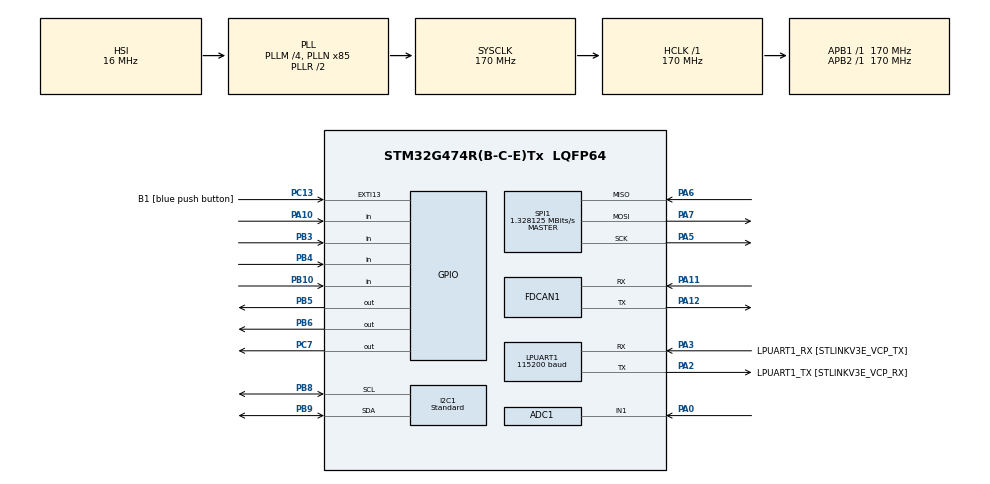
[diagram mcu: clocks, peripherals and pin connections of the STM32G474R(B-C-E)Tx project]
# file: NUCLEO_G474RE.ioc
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ADC1.Channel-2\#ChannelRegularConversion=ADC_CHANNEL_1
ADC1.NbrOfConversionFlag=1
ADC1.OffsetNumber-2\#ChannelRegularConversion=ADC_OFFSET_NONE
ADC1.Rank-2\#ChannelRegularConversion=1
ADC1.SamplingTime-2\#ChannelRegularConversion=ADC_SAMPLETIME_2CYCLES_5
ADC1.master=1
FDCAN1.CalculateBaudRateNominal=500000
FDCAN1.CalculateTimeBitNominal=2000
FDCAN1.CalculateTimeQuantumNominal=200.0
FDCAN1.NominalPrescaler=34
FDCAN1.NominalTimeSeg1=4
FDCAN1.NominalTimeSeg2=5
I2C1.CustomTiming=Disabled
I2C1.DualAddressMode=I2C_DUALADDRESS_DISABLE
I2C1.I2C_Speed_Mode=I2C_Standard
I2C1.Timing=0x40B285C2
LPUART1.BaudRate=115200
Mcu.Family=STM32G4
Mcu.Name=STM32G474R(B-C-E)Tx
Mcu.Package=LQFP64
NVIC.EXTI15_10_IRQn=true\:0\:0\:false\:false\:true\:true\:true\:true
NVIC.PriorityGroup=NVIC_PRIORITYGROUP_4
PA0.Mode=IN1-Single-Ended
PA0.Signal=ADC1_IN1
PA10.Signal=GPIO_Input
PA11.Mode=FDCAN_Activate
PA11.Signal=FDCAN1_RX
PA12.Mode=FDCAN_Activate
PA12.Signal=FDCAN1_TX
PA13.GPIO_Label=T_SWDIO
PA13.Signal=SYS_JTMS-SWDIO
PA14.GPIO_Label=T_SWCLK
PA14.Signal=SYS_JTCK-SWCLK
PA2.GPIO_Label=LPUART1_TX [STLINKV3E_VCP_RX]
PA2.Mode=Asynchronous
PA2.Signal=LPUART1_TX
PA3.GPIO_Label=LPUART1_RX [STLINKV3E_VCP_TX]
PA3.Mode=Asynchronous
PA3.Signal=LPUART1_RX
PA5.Mode=Full_Duplex_Master
PA5.Signal=SPI1_SCK
PA6.Mode=Full_Duplex_Master
PA6.Signal=SPI1_MISO
PA7.Mode=Full_Duplex_Master
PA7.Signal=SPI1_MOSI
PB10.Signal=GPIO_Input
PB3.Signal=GPIO_Input
PB4.Signal=GPIO_Input
PB5.PinState=GPIO_PIN_SET
PB5.Signal=GPIO_Output
PB6.Signal=GPIO_Output
PB8-BOOT0.Mode=I2C
PB8-BOOT0.Signal=I2C1_SCL
PB9.Mode=I2C
PB9.Signal=I2C1_SDA
PC13.GPIO_Label=B1 [blue push button]
PC13.Signal=GPXTI13
PC14-OSC32_IN.GPIO_Label=RCC_OSC32_IN
PC14-OSC32_IN.Signal=RCC_OSC32_IN
PC15-OSC32_OUT.GPIO_Label=RCC_OSC32_OUT
PC15-OSC32_OUT.Signal=RCC_OSC32_OUT
PC7.GPIO_Speed=GPIO_SPEED_FREQ_LOW
PC7.PinState=GPIO_PIN_SET
PC7.Signal=GPIO_Output
PF0-OSC_IN.GPIO_Label=RCC_OSC_IN
PF0-OSC_IN.Signal=RCC_OSC_IN
PF1-OSC_OUT.GPIO_Label=RCC_OSC_OUT
PF1-OSC_OUT.Signal=RCC_OSC_OUT
ProjectManager.HeapSize=0x200
ProjectManager.StackSize=0x400
ProjectManager.TargetToolchain=STM32CubeIDE
RCC.ADC12Freq_Value=170000000
RCC.ADC345Freq_Value=170000000
RCC.AHBFreq_Value=170000000
RCC.APB1Freq_Value=170000000
RCC.APB1TimFreq_Value=170000000
RCC.APB2Freq_Value=170000000
RCC.APB2TimFreq_Value=170000000
RCC.CortexFreq_Value=170000000
RCC.EXTERNAL_CLOCK_VALUE=12288000
RCC.HCLKFreq_Value=170000000
RCC.HSE_VALUE=24000000
RCC.HSI48_VALUE=48000000
RCC.HSI_VALUE=16000000
RCC.LSE_VALUE=32768
RCC.PLLM=RCC_PLLM_DIV4
RCC.PLLN=85
RCC.RTCClockSelection=RCC_RTCCLKSOURCE_LSE
RCC.SYSCLKFreq_VALUE=170000000
RCC.SYSCLKSource=RCC_SYSCLKSOURCE_PLLCLK
RCC.USBFreq_Value=170000000
RCC.VCOOutputFreq_Value=340000000
SPI1.BaudRatePrescaler=SPI_BAUDRATEPRESCALER_128
SPI1.CalculateBaudRate=1.328125 MBits/s
SPI1.DataSize=SPI_DATASIZE_8BIT
SPI1.Direction=SPI_DIRECTION_2LINES
SPI1.Mode=SPI_MODE_MASTER
SPI1.NSSPMode=SPI_NSS_PULSE_ENABLE
SPI1.VirtualType=VM_MASTER
VP_SYS_VS_DBSignals.Mode=DisableDeadBatterySignals
board=NUCLEO-G474RE

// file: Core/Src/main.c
/* USER CODE BEGIN Header */
/**
  ******************************************************************************
  * @file           : main.c
  * @brief          : Main program body
  ******************************************************************************
  * @attention
  *
  * Copyright (c) 2025 STMicroelectronics.
  * All rights reserved.
  *
  * This software is licensed under terms that can be found in the LICENSE file
  * in the root directory of this software component.
  * If no LICENSE file comes with this software, it is provided AS-IS.
  *
  ******************************************************************************
  */
/* USER CODE END Header */
#include "main.h"

/* USER CODE BEGIN Includes */
#include "adBms_Application.h"
#include <string.h>
#include <stdlib.h>
#include <stdbool.h>
#include <stdint.h>
/* USER CODE END Includes */

ADC_HandleTypeDef hadc1;

FDCAN_HandleTypeDef hfdcan1;

I2C_HandleTypeDef hi2c1;

UART_HandleTypeDef hlpuart1;

SPI_HandleTypeDef hspi1;

/* USER CODE BEGIN PV */
uint8_t HeaderTxBuffer[] = "****SPI - Two Boards communication based on Polling **** SPI Message ******** SPI Message ******** SPI Message ****";
/* USER CODE END PV */

void SystemClock_Config(void);
static void MX_GPIO_Init(void);
static void MX_ADC1_Init(void);
static void MX_I2C1_Init(void);
static void MX_LPUART1_UART_Init(void);
static void MX_SPI1_Init(void);
static void MX_FDCAN1_Init(void);
/* USER CODE BEGIN PFP */
#if defined(__ICCARM__)
/* New definition from EWARM V9, compatible with EWARM8 */
int iar_fputc(int ch);
#define PUTCHAR_PROTOTYPE int iar_fputc(int ch)
#elif defined ( __CC_ARM ) || defined(__ARMCC_VERSION)
/* ARM Compiler 5/6*/
#define PUTCHAR_PROTOTYPE int fputc(int ch, FILE *f)
#define GETCHAR_PROTOTYPE int fgetc(FILE *f)
#elif defined(__GNUC__)
#define PUTCHAR_PROTOTYPE int __io_putchar(int ch)
#define GETCHAR_PROTOTYPE int __io_getchar(void)
#endif /* __ICCARM__ */
/* USER CODE END PFP */

int main(void)
{

  /* MCU Configuration--------------------------------------------------------*/

  /* Reset of all peripherals, Initializes the Flash interface and the Systick. */
  HAL_Init();

  /* Configure the system clock */
  SystemClock_Config();

  /* Initialize all configured peripherals */
  MX_GPIO_Init();
  MX_ADC1_Init();
  MX_I2C1_Init();
  MX_LPUART1_UART_Init();
  MX_SPI1_Init();
  MX_FDCAN1_Init();
  /* USER CODE BEGIN 2 */
//  adbms_main();
    init_config();
  void send_voltages_CAN() {
      FDCAN_TxHeaderTypeDef txHeader;
      uint8_t data[8];

          uint16_t min_mv = (uint16_t)(tensao_min * 1000);
          uint16_t med_mv = (uint16_t)(tensao_med * 1000);
          uint16_t max_mv = (uint16_t)(tensao_max * 1000);

          data[0] = (min_mv >> 8) & 0xFF;
          data[1] = min_mv & 0xFF;

          data[2] = (med_mv >> 8) & 0xFF;
          data[3] = med_mv & 0xFF;

          data[4] = (max_mv >> 8) & 0xFF;
          data[5] = max_mv & 0xFF;

          data[6] = 0xAB; // opcional: byte livre
          data[7] = 0xCD; // opcional: byte livre

      txHeader.Identifier = 0x184;
      txHeader.IdType = FDCAN_STANDARD_ID;
      txHeader.TxFrameType = FDCAN_DATA_FRAME;
      txHeader.DataLength = FDCAN_DLC_BYTES_8;
      txHeader.ErrorStateIndicator = FDCAN_ESI_ACTIVE;
      txHeader.BitRateSwitch = FDCAN_BRS_OFF;
      txHeader.FDFormat = FDCAN_CLASSIC_CAN;
      txHeader.TxEventFifoControl = FDCAN_NO_TX_EVENTS;
      txHeader.MessageMarker = 0;

      HAL_FDCAN_AddMessageToTxFifoQ(&hfdcan1, &txHeader, data);

      if(HAL_FDCAN_AddMessageToTxFifoQ(&hfdcan1, &txHeader, data) != HAL_OK)
      	{

          	HAL_FDCAN_DeInit(&hfdcan1);
          	HAL_Delay(5);
          	HAL_FDCAN_Init(&hfdcan1);
          	HAL_FDCAN_Start(&hfdcan1);

          }

  }

  /* USER CODE END 2 */

  /* Infinite loop */
  /* USER CODE BEGIN WHILE */
  while (1)
  {
	  run_command(22);
	  printf("Tensões: MIN = %.3fV | MAX = %.3fV | MÉDIA = %.3fV\n",
	  	             tensao_min, tensao_max, tensao_med);
	  send_voltages_CAN();
	  HAL_Delay(200);
    /* USER CODE END WHILE */

  }
}

void SystemClock_Config(void)
{
  RCC_OscInitTypeDef RCC_OscInitStruct = {0};
  RCC_ClkInitTypeDef RCC_ClkInitStruct = {0};

  /** Configure the main internal regulator output voltage
  */
  HAL_PWREx_ControlVoltageScaling(PWR_REGULATOR_VOLTAGE_SCALE1_BOOST);

  /** Initializes the RCC Oscillators according to the specified parameters
  * in the RCC_OscInitTypeDef structure.
  */
  RCC_OscInitStruct.OscillatorType = RCC_OSCILLATORTYPE_HSI;
  RCC_OscInitStruct.HSIState = RCC_HSI_ON;
  RCC_OscInitStruct.HSICalibrationValue = RCC_HSICALIBRATION_DEFAULT;
  RCC_OscInitStruct.PLL.PLLState = RCC_PLL_ON;
  RCC_OscInitStruct.PLL.PLLSource = RCC_PLLSOURCE_HSI;
  RCC_OscInitStruct.PLL.PLLM = RCC_PLLM_DIV4;
  RCC_OscInitStruct.PLL.PLLN = 85;
  RCC_OscInitStruct.PLL.PLLP = RCC_PLLP_DIV2;
  RCC_OscInitStruct.PLL.PLLQ = RCC_PLLQ_DIV2;
  RCC_OscInitStruct.PLL.PLLR = RCC_PLLR_DIV2;
  if (HAL_RCC_OscConfig(&RCC_OscInitStruct) != HAL_OK)
  {
    Error_Handler();
  }

  /** Initializes the CPU, AHB and APB buses clocks
  */
  RCC_ClkInitStruct.ClockType = RCC_CLOCKTYPE_HCLK|RCC_CLOCKTYPE_SYSCLK
                              |RCC_CLOCKTYPE_PCLK1|RCC_CLOCKTYPE_PCLK2;
  RCC_ClkInitStruct.SYSCLKSource = RCC_SYSCLKSOURCE_PLLCLK;
  RCC_ClkInitStruct.AHBCLKDivider = RCC_SYSCLK_DIV1;
  RCC_ClkInitStruct.APB1CLKDivider = RCC_HCLK_DIV1;
  RCC_ClkInitStruct.APB2CLKDivider = RCC_HCLK_DIV1;

  if (HAL_RCC_ClockConfig(&RCC_ClkInitStruct, FLASH_LATENCY_4) != HAL_OK)
  {
    Error_Handler();
  }
}

static void MX_ADC1_Init(void)
{

  ADC_MultiModeTypeDef multimode = {0};
  ADC_ChannelConfTypeDef sConfig = {0};

  /** Common config
  */
  hadc1.Instance = ADC1;
  hadc1.Init.ClockPrescaler = ADC_CLOCK_SYNC_PCLK_DIV4;
  hadc1.Init.Resolution = ADC_RESOLUTION_12B;
  hadc1.Init.DataAlign = ADC_DATAALIGN_RIGHT;
  hadc1.Init.GainCompensation = 0;
  hadc1.Init.ScanConvMode = ADC_SCAN_DISABLE;
  hadc1.Init.EOCSelection = ADC_EOC_SINGLE_CONV;
  hadc1.Init.LowPowerAutoWait = DISABLE;
  hadc1.Init.ContinuousConvMode = DISABLE;
  hadc1.Init.NbrOfConversion = 1;
  hadc1.Init.DiscontinuousConvMode = DISABLE;
  hadc1.Init.ExternalTrigConv = ADC_SOFTWARE_START;
  hadc1.Init.ExternalTrigConvEdge = ADC_EXTERNALTRIGCONVEDGE_NONE;
  hadc1.Init.DMAContinuousRequests = DISABLE;
  hadc1.Init.Overrun = ADC_OVR_DATA_PRESERVED;
  hadc1.Init.OversamplingMode = DISABLE;
  if (HAL_ADC_Init(&hadc1) != HAL_OK)
  {
    Error_Handler();
  }

  /** Configure the ADC multi-mode
  */
  multimode.Mode = ADC_MODE_INDEPENDENT;
  if (HAL_ADCEx_MultiModeConfigChannel(&hadc1, &multimode) != HAL_OK)
  {
    Error_Handler();
  }

  /** Configure Regular Channel
  */
  sConfig.Channel = ADC_CHANNEL_1;
  sConfig.Rank = ADC_REGULAR_RANK_1;
  sConfig.SamplingTime = ADC_SAMPLETIME_2CYCLES_5;
  sConfig.SingleDiff = ADC_SINGLE_ENDED;
  sConfig.OffsetNumber = ADC_OFFSET_NONE;
  sConfig.Offset = 0;
  if (HAL_ADC_ConfigChannel(&hadc1, &sConfig) != HAL_OK)
  {
    Error_Handler();
  }

}

static void MX_FDCAN1_Init(void)
{

  hfdcan1.Instance = FDCAN1;
  hfdcan1.Init.ClockDivider = FDCAN_CLOCK_DIV1;
  hfdcan1.Init.FrameFormat = FDCAN_FRAME_CLASSIC;
  hfdcan1.Init.Mode = FDCAN_MODE_NORMAL;
  hfdcan1.Init.AutoRetransmission = DISABLE;
  hfdcan1.Init.TransmitPause = DISABLE;
  hfdcan1.Init.ProtocolException = DISABLE;
  hfdcan1.Init.NominalPrescaler = 34;
  hfdcan1.Init.NominalSyncJumpWidth = 1;
  hfdcan1.Init.NominalTimeSeg1 = 4;
  hfdcan1.Init.NominalTimeSeg2 = 5;
  hfdcan1.Init.DataPrescaler = 1;
  hfdcan1.Init.DataSyncJumpWidth = 1;
  hfdcan1.Init.DataTimeSeg1 = 1;
  hfdcan1.Init.DataTimeSeg2 = 1;
  hfdcan1.Init.StdFiltersNbr = 0;
  hfdcan1.Init.ExtFiltersNbr = 0;
  hfdcan1.Init.TxFifoQueueMode = FDCAN_TX_FIFO_OPERATION;
  if (HAL_FDCAN_Init(&hfdcan1) != HAL_OK)
  {
    Error_Handler();
  }

}

static void MX_I2C1_Init(void)
{

  hi2c1.Instance = I2C1;
  hi2c1.Init.Timing = 0x40B285C2;
  hi2c1.Init.OwnAddress1 = 0;
  hi2c1.Init.AddressingMode = I2C_ADDRESSINGMODE_7BIT;
  hi2c1.Init.DualAddressMode = I2C_DUALADDRESS_DISABLE;
  hi2c1.Init.OwnAddress2 = 0;
  hi2c1.Init.OwnAddress2Masks = I2C_OA2_NOMASK;
  hi2c1.Init.GeneralCallMode = I2C_GENERALCALL_DISABLE;
  hi2c1.Init.NoStretchMode = I2C_NOSTRETCH_DISABLE;
  if (HAL_I2C_Init(&hi2c1) != HAL_OK)
  {
    Error_Handler();
  }

  /** Configure Analogue filter
  */
  if (HAL_I2CEx_ConfigAnalogFilter(&hi2c1, I2C_ANALOGFILTER_ENABLE) != HAL_OK)
  {
    Error_Handler();
  }

  /** Configure Digital filter
  */
  if (HAL_I2CEx_ConfigDigitalFilter(&hi2c1, 0) != HAL_OK)
  {
    Error_Handler();
  }

}

static void MX_LPUART1_UART_Init(void)
{

  hlpuart1.Instance = LPUART1;
  hlpuart1.Init.BaudRate = 115200;
  hlpuart1.Init.WordLength = UART_WORDLENGTH_8B;
  hlpuart1.Init.StopBits = UART_STOPBITS_1;
  hlpuart1.Init.Parity = UART_PARITY_NONE;
  hlpuart1.Init.Mode = UART_MODE_TX_RX;
  hlpuart1.Init.HwFlowCtl = UART_HWCONTROL_NONE;
  hlpuart1.Init.OneBitSampling = UART_ONE_BIT_SAMPLE_DISABLE;
  hlpuart1.Init.ClockPrescaler = UART_PRESCALER_DIV1;
  hlpuart1.AdvancedInit.AdvFeatureInit = UART_ADVFEATURE_NO_INIT;
  if (HAL_UART_Init(&hlpuart1) != HAL_OK)
  {
    Error_Handler();
  }
  if (HAL_UARTEx_SetTxFifoThreshold(&hlpuart1, UART_TXFIFO_THRESHOLD_1_8) != HAL_OK)
  {
    Error_Handler();
  }
  if (HAL_UARTEx_SetRxFifoThreshold(&hlpuart1, UART_RXFIFO_THRESHOLD_1_8) != HAL_OK)
  {
    Error_Handler();
  }
  if (HAL_UARTEx_DisableFifoMode(&hlpuart1) != HAL_OK)
  {
    Error_Handler();
  }

}

static void MX_SPI1_Init(void)
{

  /* SPI1 parameter configuration*/
  hspi1.Instance = SPI1;
  hspi1.Init.Mode = SPI_MODE_MASTER;
  hspi1.Init.Direction = SPI_DIRECTION_2LINES;
  hspi1.Init.DataSize = SPI_DATASIZE_8BIT;
  hspi1.Init.CLKPolarity = SPI_POLARITY_LOW;
  hspi1.Init.CLKPhase = SPI_PHASE_1EDGE;
  hspi1.Init.NSS = SPI_NSS_SOFT;
  hspi1.Init.BaudRatePrescaler = SPI_BAUDRATEPRESCALER_128;
  hspi1.Init.FirstBit = SPI_FIRSTBIT_MSB;
  hspi1.Init.TIMode = SPI_TIMODE_DISABLE;
  hspi1.Init.CRCCalculation = SPI_CRCCALCULATION_DISABLE;
  hspi1.Init.CRCPolynomial = 7;
  hspi1.Init.CRCLength = SPI_CRC_LENGTH_DATASIZE;
  hspi1.Init.NSSPMode = SPI_NSS_PULSE_ENABLE;
  if (HAL_SPI_Init(&hspi1) != HAL_OK)
  {
    Error_Handler();
  }

}

static void MX_GPIO_Init(void)
{
  GPIO_InitTypeDef GPIO_InitStruct = {0};

  /* GPIO Ports Clock Enable */
  __HAL_RCC_GPIOC_CLK_ENABLE();
  __HAL_RCC_GPIOF_CLK_ENABLE();
  __HAL_RCC_GPIOA_CLK_ENABLE();
  __HAL_RCC_GPIOB_CLK_ENABLE();

  /*Configure GPIO pin Output Level */
  HAL_GPIO_WritePin(GPIOC, GPIO_PIN_7, GPIO_PIN_SET);

  /*Configure GPIO pin Output Level */
  HAL_GPIO_WritePin(GPIOB, GPIO_PIN_5, GPIO_PIN_SET);

  /*Configure GPIO pin Output Level */
  HAL_GPIO_WritePin(GPIOB, GPIO_PIN_6, GPIO_PIN_RESET);

  /*Configure GPIO pin : B1_Pin */
  GPIO_InitStruct.Pin = B1_Pin;
  GPIO_InitStruct.Mode = GPIO_MODE_IT_RISING;
  GPIO_InitStruct.Pull = GPIO_NOPULL;
  HAL_GPIO_Init(B1_GPIO_Port, &GPIO_InitStruct);

  /*Configure GPIO pins : PB10 PB3 PB4 */
  GPIO_InitStruct.Pin = GPIO_PIN_10|GPIO_PIN_3|GPIO_PIN_4;
  GPIO_InitStruct.Mode = GPIO_MODE_INPUT;
  GPIO_InitStruct.Pull = GPIO_NOPULL;
  HAL_GPIO_Init(GPIOB, &GPIO_InitStruct);

  /*Configure GPIO pin : PC7 */
  GPIO_InitStruct.Pin = GPIO_PIN_7;
  GPIO_InitStruct.Mode = GPIO_MODE_OUTPUT_PP;
  GPIO_InitStruct.Pull = GPIO_NOPULL;
  GPIO_InitStruct.Speed = GPIO_SPEED_FREQ_LOW;
  HAL_GPIO_Init(GPIOC, &GPIO_InitStruct);

  /*Configure GPIO pin : PA10 */
  GPIO_InitStruct.Pin = GPIO_PIN_10;
  GPIO_InitStruct.Mode = GPIO_MODE_INPUT;
  GPIO_InitStruct.Pull = GPIO_NOPULL;
  HAL_GPIO_Init(GPIOA, &GPIO_InitStruct);

  /*Configure GPIO pins : PB5 PB6 */
  GPIO_InitStruct.Pin = GPIO_PIN_5|GPIO_PIN_6;
  GPIO_InitStruct.Mode = GPIO_MODE_OUTPUT_PP;
  GPIO_InitStruct.Pull = GPIO_NOPULL;
  GPIO_InitStruct.Speed = GPIO_SPEED_FREQ_LOW;
  HAL_GPIO_Init(GPIOB, &GPIO_InitStruct);

  /* EXTI interrupt init*/
  HAL_NVIC_SetPriority(EXTI15_10_IRQn, 0, 0);
  HAL_NVIC_EnableIRQ(EXTI15_10_IRQn);

}

/* USER CODE BEGIN 4 */
/**
  * @brief  Retargets the C library __write function to the IAR function iar_fputc.
  * @param  file: file descriptor.
  * @param  ptr: pointer to the buffer where the data is stored.
  * @param  len: length of the data to write in bytes.
  * @retval length of the written data in bytes.
  */
#if defined(__ICCARM__)
size_t __write(int file, unsigned char const *ptr, size_t len)
{
  size_t idx;
  unsigned char const *pdata = ptr;

  for (idx = 0; idx < len; idx++)
  {
    iar_fputc((int)*pdata);
    pdata++;
  }
  return len;
}
#endif /* __ICCARM__ */

/**
  * @brief  Retargets the C library printf function to the USART.
  */
PUTCHAR_PROTOTYPE
{
  /* Place your implementation of fputc here */
  /* e.g. write a character to the LPUART1 and Loop until the end of transmission */
  HAL_UART_Transmit(&hlpuart1, (uint8_t *)&ch, 1, 0xFFFF);

  return ch;
}

GETCHAR_PROTOTYPE
{
  uint8_t ch = 0;

  /* Clear the Overrun flag just before receiving the first character */
  __HAL_UART_CLEAR_OREFLAG(&hlpuart1);

  /* Wait for reception of a character on the USART RX line and echo this
   * character on console */
  HAL_UART_Receive(&hlpuart1, (uint8_t *)&ch, 1, HAL_MAX_DELAY);
  HAL_UART_Transmit(&hlpuart1, (uint8_t *)&ch, 1, HAL_MAX_DELAY);
  return ch;
}
/* USER CODE END 4 */

void Error_Handler(void)
{
  __disable_irq();
  while (1)
  {
  }
}
